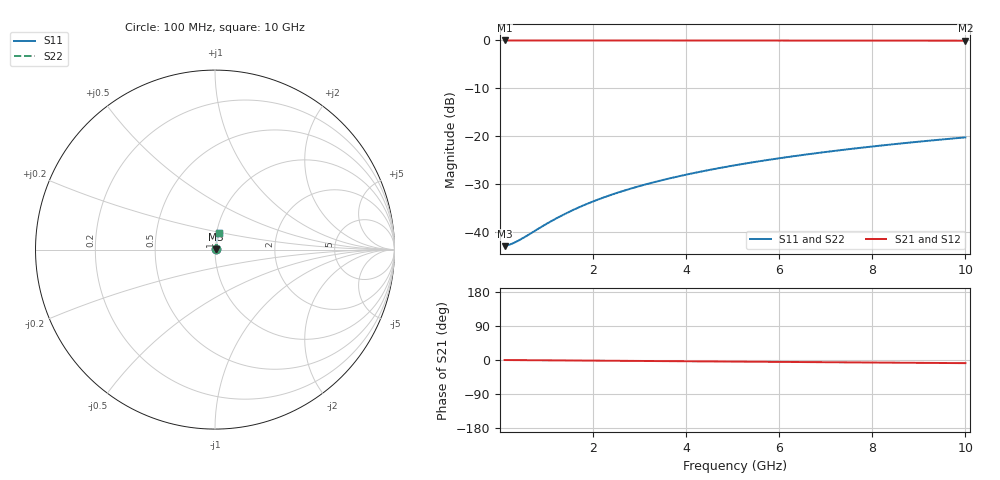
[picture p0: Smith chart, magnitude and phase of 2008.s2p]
# Hz S RI R 50.00
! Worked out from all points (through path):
!   100 points, 100 MHz to 10 GHz, reference 50 ohm
!   highest |S21| = -0.06 dB at 100 MHz (marker M1); lowest = -0.1 dB at 10 GHz (marker M2)
!   group delay of S21, straight-line fit = 2.31 ps
!   lowest |S11| = -43.0 dB at 100 MHz (marker M3), VSWR 1.01, Z = 50.7 + j0.0974 ohm
!   |S11| at or under -10 dB: start of sweep to end of sweep
!   |S22| runs from -43.0 to -20.3 dB; largest |S21 - S12| = 0
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1e8  0.00702 0.00096  0.993 -0.00145  0.993 -0.00145  0.00702 0.00096
2e8  0.00707 0.00192  0.9929 -0.00289  0.9929 -0.00289  0.00707 0.00192
3e8  0.00711 0.00288  0.9929 -0.00434  0.9929 -0.00434  0.00711 0.00288
4e8  0.00715 0.00384  0.9928 -0.00578  0.9928 -0.00578  0.00715 0.00384
5e8  0.00718 0.0048  0.9928 -0.00723  0.9928 -0.00723  0.00718 0.0048
1e9  0.00737 0.0096  0.9926 -0.0144  0.9926 -0.0144  0.00737 0.0096
1.2e9  0.00746 0.0115  0.9925 -0.0173  0.9925 -0.0173  0.00746 0.0115
1.5e9  0.00761 0.0144  0.9924 -0.0217  0.9924 -0.0217  0.00761 0.0144
1.8e9  0.00778 0.0173  0.9922 -0.026  0.9922 -0.026  0.00778 0.0173
2.1e9  0.00797 0.0201  0.992 -0.0303  0.992 -0.0303  0.00797 0.0201
2.5e9  0.00826 0.024  0.9917 -0.0361  0.9917 -0.0361  0.00826 0.024
2.9e9  0.00859 0.0278  0.9913 -0.0419  0.9913 -0.0419  0.00859 0.0278
3.4e9  0.00906 0.0326  0.9908 -0.0491  0.9908 -0.0491  0.00906 0.0326
3.8e9  0.00948 0.0364  0.9903 -0.0548  0.9903 -0.0548  0.00948 0.0364
4.2e9  0.00995 0.0402  0.9898 -0.0606  0.9898 -0.0606  0.00995 0.0402
4.6e9  0.0105 0.044  0.9893 -0.0663  0.9893 -0.0663  0.0105 0.044
5.1e9  0.0112 0.0487  0.9885 -0.0735  0.9885 -0.0735  0.0112 0.0487
5.9e9  0.0124 0.0563  0.9871 -0.0849  0.9871 -0.0849  0.0124 0.0563
6.7e9  0.0139 0.0638  0.9856 -0.0963  0.9856 -0.0963  0.0139 0.0638
7.5e9  0.0155 0.0713  0.9838 -0.1077  0.9838 -0.1077  0.0155 0.0713
8.4e9  0.0175 0.0796  0.9816 -0.1204  0.9816 -0.1204  0.0175 0.0796
1e10  0.0216 0.0943  0.9772 -0.1429  0.9772 -0.1429  0.0216 0.0943
